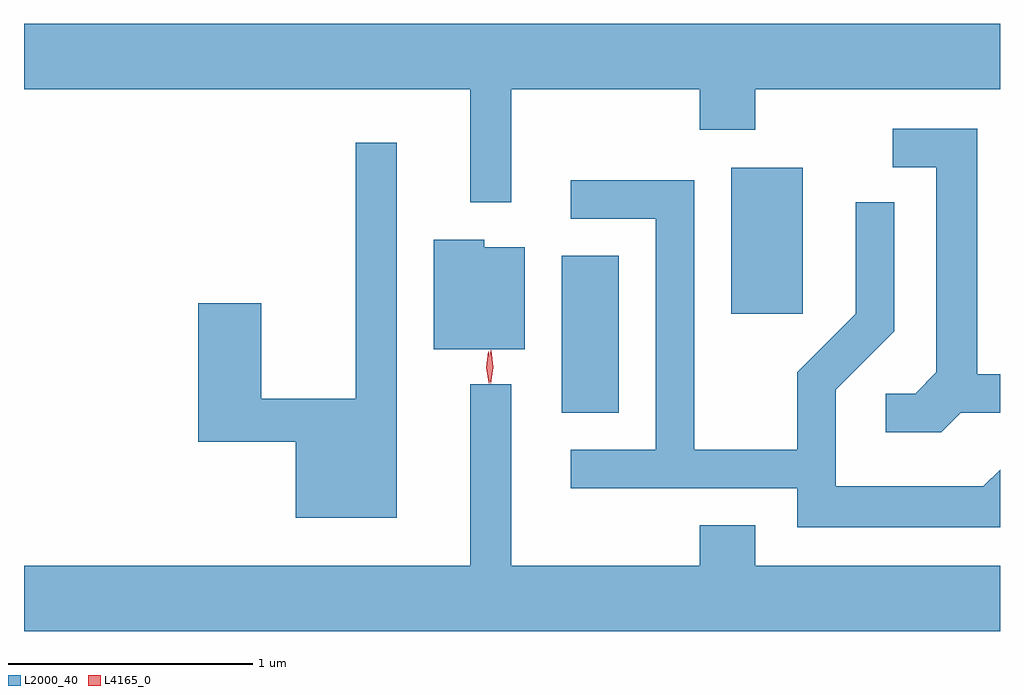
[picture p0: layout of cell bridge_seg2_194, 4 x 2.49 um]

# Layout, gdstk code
import gdstk
lib = gdstk.Library(unit=1e-6, precision=1e-09)
def R(c, l, rs):  # rectangles x0, y0, x1, y1
    for r in rs: c.add(gdstk.rectangle(r[:2], r[2:], *l))
def P(c, l, *ps):  # polygons
    for p in ps: c.add(gdstk.Polygon(p, *l))
L2000_40 = (2000, 40)
L4165_0 = (4165, 0)

bridge_seg2_194 = lib.new_cell('bridge_seg2_194')
R(bridge_seg2_194, L2000_40, [(742.156,995.931,742.389,996.574), (742.851,996.336,743.144,996.934)])
P(bridge_seg2_194, L2000_40, [(741.949,997.256),(742.721,997.256),(742.721,997.091),(742.949,997.091),(742.949,997.256),(743.952,997.256),(743.952,997.524),(739.952,997.524),(739.952,997.256),(741.781,997.256),(741.781,996.793),(741.949,996.793)],
  [(743.792,995.931),(743.952,995.931),(743.952,996.089),(743.859,996.089),(743.859,997.094),(743.513,997.094),(743.513,996.936),(743.691,996.936),(743.691,996.097),(743.604,996.009),(743.483,996.009),(743.483,995.851),(743.712,995.851)],
  [(741.479,997.038),(741.311,997.038),(741.311,995.989),(740.924,995.989),(740.924,996.379),(740.666,996.379),(740.666,995.811),(741.066,995.811),(741.066,995.501),(741.479,995.501)],
  [(743.952,995.697),(743.884,995.629),(743.279,995.629),(743.279,996.024),(743.519,996.264),(743.519,996.793),(743.361,996.793),(743.361,996.337),(743.121,996.097),(743.121,995.779),(742.699,995.779),(742.699,996.884),(742.193,996.884),(742.193,996.726),(742.541,996.726),(742.541,995.779),(742.193,995.779),(742.193,995.621),(743.121,995.621),(743.121,995.461),(743.952,995.461)],
  [(742.004,996.609),(741.839,996.609),(741.839,996.639),(741.631,996.639),(741.631,996.191),(742.004,996.191)],
  [(743.952,995.304),(742.949,995.304),(742.949,995.469),(742.721,995.469),(742.721,995.304),(741.949,995.304),(741.949,996.048),(741.781,996.048),(741.781,995.304),(739.952,995.304),(739.952,995.036),(743.952,995.036)])
P(bridge_seg2_194, L4165_0, [(741.865,996.049),(741.864,996.05),(741.855,996.118),(741.865,996.186),(741.866,996.186),(741.866,996.186),(741.875,996.118),(741.865,996.05)],
  [(741.858,996.052),(741.857,996.053),(741.847,996.117),(741.855,996.181),(741.855,996.181),(741.856,996.181),(741.866,996.117),(741.858,996.053)])

lib.write_gds('bridge_seg2_194.gds')
